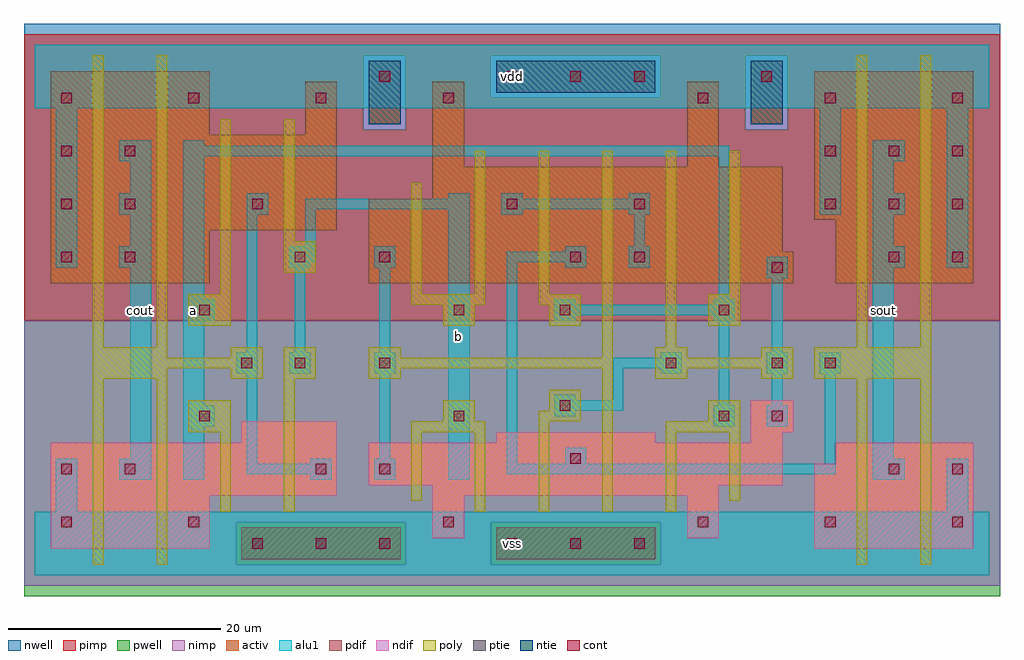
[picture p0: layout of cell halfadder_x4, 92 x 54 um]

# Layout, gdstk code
import gdstk
lib = gdstk.Library(unit=1e-6, precision=1e-09)
def R(c, l, rs):  # rectangles x0, y0, x1, y1
    for r in rs: c.add(gdstk.rectangle(r[:2], r[2:], *l))
def A(c, l, x, y, w, h, nx, ny, dx, dy):  # array of equal rectangles
    R(c, l, [(x+i*dx, y+j*dy, x+i*dx+w, y+j*dy+h) for i in range(nx) for j in range(ny)])
ndif = (3, 0)
pdif = (4, 0)
ntie = (5, 0)
ptie = (6, 0)
cont = (25, 0)
pwell = (41, 0)
nwell = (42, 0)
activ = (43, 0)
pimp = (44, 0)
nimp = (45, 0)
poly = (46, 0)
alu1 = (49, 0)

halfadder_x4 = lib.new_cell('halfadder_x4')
R(halfadder_x4, ndif, [(1.5,2.5,16.5,7.5), (73.5,2.5,88.5,10.5), (37.5,3.5,40.5,7.5), (61.5,3.5,64.5,7.5), (1.5,7.5,28.5,12.5), (37.5,7.5,64.5,8.5), (31.5,8.5,70.5,12.5), (75.5,10.5,88.5,12.5), (19.5,12.5,28.5,14.5), (43.5,12.5,58.5,13.5), (67.5,12.5,70.5,13.5), (67.5,13.5,71.5,16.5)])
R(halfadder_x4, pdif, [(1.5,27.5,16.5,32.5), (31.5,27.5,71.5,30.5), (75.5,27.5,88.5,33.5), (31.5,30.5,70.5,35.5), (1.5,32.5,28.5,41.5), (73.5,33.5,88.5,47.5), (37.5,35.5,70.5,38.5), (37.5,38.5,40.5,46.5), (61.5,38.5,64.5,46.5), (1.5,41.5,16.5,47.5), (25.5,41.5,28.5,46.5)])
R(halfadder_x4, ntie, [(31.5,42.5,34.5,48.5), (67.5,42.5,70.5,48.5), (43.5,45.5,58.5,48.5)])
R(halfadder_x4, ptie, [(19.5,1.5,34.5,4.5), (43.5,1.5,58.5,4.5)])
A(halfadder_x4, cont, 20.5, 2.5, 1, 1, 3, 1, 6, 0)
A(halfadder_x4, cont, 44.5, 2.5, 1, 1, 3, 2, 6, 44)
A(halfadder_x4, cont, 14.5, 4.5, 1, 1, 3, 1, 24, 0)
A(halfadder_x4, cont, 32.5, 9.5, 1, 1, 1, 3, 0, 10)
A(halfadder_x4, cont, 2.5, 29.5, 1, 1, 1, 3, 0, 5)
A(halfadder_x4, cont, 8.5, 29.5, 1, 1, 1, 3, 0, 5)
A(halfadder_x4, cont, 74.5, 34.5, 1, 1, 3, 2, 6, 5)
A(halfadder_x4, cont, 2.5, 44.5, 1, 1, 4, 1, 12, 0)
A(halfadder_x4, cont, 62.5, 44.5, 1, 1, 3, 1, 12, 0)
R(halfadder_x4, cont, [(2.5,4.5,3.5,5.5), (74.5,4.5,75.5,5.5), (86.5,4.5,87.5,5.5), (2.5,9.5,3.5,10.5), (8.5,9.5,9.5,10.5), (26.5,9.5,27.5,10.5), (80.5,9.5,81.5,10.5), (86.5,9.5,87.5,10.5), (50.5,10.5,51.5,11.5), (15.5,14.5,16.5,15.5), (39.5,14.5,40.5,15.5), (64.5,14.5,65.5,15.5), (69.5,14.5,70.5,15.5), (49.5,15.5,50.5,16.5), (19.5,19.5,20.5,20.5), (24.5,19.5,25.5,20.5), (59.5,19.5,60.5,20.5), (69.5,19.5,70.5,20.5), (74.5,19.5,75.5,20.5), (15.5,24.5,16.5,25.5), (39.5,24.5,40.5,25.5), (49.5,24.5,50.5,25.5), (64.5,24.5,65.5,25.5), (69.5,28.5,70.5,29.5), (24.5,29.5,25.5,30.5), (50.5,29.5,51.5,30.5), (56.5,29.5,57.5,30.5), (80.5,29.5,81.5,30.5), (86.5,29.5,87.5,30.5), (20.5,34.5,21.5,35.5), (44.5,34.5,45.5,35.5), (56.5,34.5,57.5,35.5), (32.5,46.5,33.5,47.5), (68.5,46.5,69.5,47.5)])
R(halfadder_x4, pwell, [(-1,-2,91,24)])
R(halfadder_x4, nwell, [(-1,24,91,52)])
R(halfadder_x4, activ, [(19.5,1.5,34.5,4.5), (43.5,1.5,58.5,4.5), (1.5,2.5,16.5,7.5), (73.5,2.5,88.5,10.5), (37.5,3.5,40.5,7.5), (61.5,3.5,64.5,7.5), (1.5,7.5,28.5,12.5), (37.5,7.5,64.5,8.5), (31.5,8.5,70.5,12.5), (75.5,10.5,88.5,12.5), (19.5,12.5,28.5,14.5), (43.5,12.5,58.5,13.5), (67.5,12.5,70.5,13.5), (67.5,13.5,71.5,16.5), (1.5,27.5,16.5,32.5), (31.5,27.5,71.5,30.5), (75.5,27.5,88.5,33.5), (31.5,30.5,70.5,35.5), (1.5,32.5,28.5,41.5), (73.5,33.5,88.5,47.5), (37.5,35.5,70.5,38.5), (37.5,38.5,40.5,46.5), (61.5,38.5,64.5,46.5), (1.5,41.5,16.5,47.5), (25.5,41.5,28.5,46.5), (31.5,42.5,34.5,48.5), (67.5,42.5,70.5,48.5), (43.5,45.5,58.5,48.5)])
R(halfadder_x4, pimp, [(19,1,35,5), (43,1,59,5), (-1,24,91,42), (-1,42,31,49), (35,42,67,45), (71,42,91,49), (35,45,43,49), (59,45,67,49), (-1,49,91,51)])
R(halfadder_x4, nimp, [(-1,-1,91,1), (-1,1,19,5), (35,1,43,5), (59,1,91,5), (-1,5,91,24), (31,42,35,49), (67,42,71,49), (43,45,59,49)])
R(halfadder_x4, poly, [(5.5,1,6.5,18.5), (11.5,1,12.5,18.5), (77.5,1,78.5,18.5), (83.5,1,84.5,18.5), (17.5,6,18.5,13.5), (23.5,6,24.5,18.5), (41.5,6,42.5,13.5), (47.5,6,48.5,14.5), (53.5,6,54.5,19.5), (59.5,6,60.5,13.5), (35.5,7,36.5,13.5), (65.5,7,66.5,13.5), (14.5,13.5,18.5,16.5), (35.5,13.5,42.5,14.5), (59.5,13.5,66.5,14.5), (38.5,14.5,41.5,16.5), (47.5,14.5,51.5,15.5), (63.5,14.5,66.5,16.5), (48.5,15.5,51.5,17.5), (5.5,18.5,12.5,19.5), (18.5,18.5,21.5,19.5), (23.5,18.5,26.5,21.5), (31.5,18.5,34.5,19.5), (58.5,18.5,61.5,19.5), (68.5,18.5,71.5,19.5), (73.5,18.5,84.5,21.5), (5.5,19.5,21.5,20.5), (31.5,19.5,54.5,20.5), (58.5,19.5,71.5,20.5), (5.5,20.5,12.5,21.5), (18.5,20.5,21.5,21.5), (31.5,20.5,34.5,21.5), (53.5,20.5,54.5,40), (58.5,20.5,61.5,21.5), (68.5,20.5,71.5,21.5), (5.5,21.5,6.5,49), (11.5,21.5,12.5,49), (59.5,21.5,60.5,40), (77.5,21.5,78.5,49), (83.5,21.5,84.5,49), (14.5,23.5,18.5,26.5), (38.5,23.5,41.5,25.5), (48.5,23.5,51.5,25.5), (63.5,23.5,66.5,26.5), (35.5,25.5,42.5,26.5), (47.5,25.5,51.5,26.5), (17.5,26.5,18.5,43), (35.5,26.5,36.5,37), (41.5,26.5,42.5,40), (47.5,26.5,48.5,40), (65.5,26.5,66.5,40), (23.5,28.5,26.5,31.5), (23.5,31.5,24.5,43)])
A(halfadder_x4, alu1, 32, 9, 2, 2, 1, 3, 0, 10)
A(halfadder_x4, alu1, 8, 29, 3, 2, 1, 3, 0, 5)
A(halfadder_x4, alu1, 79, 29, 3, 2, 1, 3, 0, 5)
R(halfadder_x4, alu1, [(0,0,90,6), (2,6,4,11), (86,6,88,11), (8,9,11,11), (14,9,16,14), (26,9,28,9.5), (39,9,41,34.5), (79,9,82,11), (20,9.5,28,10.5), (44.5,9.5,75.5,10.5), (20,10.5,21,19), (26,10.5,28,11), (44.5,10.5,45.5,29.5), (50,10.5,52,12), (74.5,10.5,75.5,19), (9,11,11,29), (32.5,11,33.5,19), (79,11,81,29), (14,14,17,16), (64,14,66,16), (69,14,71,16), (49,15,51,15.5), (49,15.5,55.5,16.5), (14,16,16,24), (64.5,16,65.5,24), (69.5,16,70.5,19), (49,16.5,51,17), (54.5,16.5,55.5,19.5), (19,19,21,21), (24,19,26,21), (59,19,61,19.5), (69,19,71,21), (74,19,76,21), (54.5,19.5,61,20.5), (59,20.5,61,21), (20,21,21,34), (24.5,21,25.5,29), (32.5,21,33.5,29), (69.5,21,70.5,28), (14,24,17,26), (49,24,51,24.5), (64,24,66,24.5), (49,24.5,66,25.5), (49,25.5,51,26), (64,25.5,66,26), (14,26,16,39.5), (64.5,26,65.5,39.5), (69,28,71,30), (2,29,4,44), (24,29,26,29.5), (50,29,52,29.5), (56,29,58,31), (86,29,88,44), (24,29.5,26.5,31), (44.5,29.5,52,30.5), (50,30.5,52,31), (9,31,11,34), (25.5,31,26.5,34.5), (56.5,31,57.5,34), (79,31,81,34), (20,34,22,36), (44,34,46,34.5), (56,34,58,34.5), (74,34,76,44), (25.5,34.5,41,35.5), (44,34.5,58,35.5), (39,35.5,41,36), (44,35.5,46,36), (56,35.5,58,36), (9,36,11,39), (79,36,81,39), (14,39.5,65.5,40.5), (14,40.5,16,41), (0,44,90,50)])
halfadder_x4.add(gdstk.Label('a', (15,25), layer=49, texttype=0))
halfadder_x4.add(gdstk.Label('cout', (10,25), layer=49, texttype=0))
halfadder_x4.add(gdstk.Label('vss', (45,3), layer=49, texttype=0))
halfadder_x4.add(gdstk.Label('b', (40,22.5), layer=49, texttype=0))
halfadder_x4.add(gdstk.Label('vdd', (45,47), layer=49, texttype=0))
halfadder_x4.add(gdstk.Label('sout', (80,25), layer=49, texttype=0))

lib.write_gds('halfadder_x4.gds')
